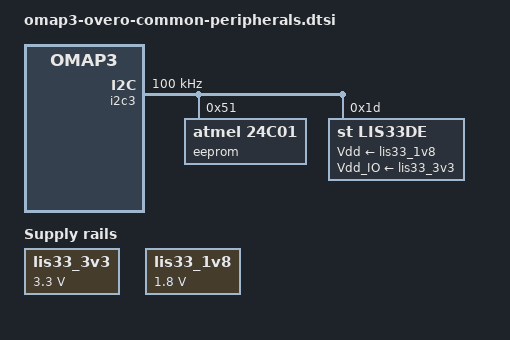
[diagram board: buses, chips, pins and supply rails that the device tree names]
/*
 * Copyright (C) 2014 Florian Vaussard, EPFL Mobots group
 *
 * This program is free software; you can redistribute it and/or modify
 * it under the terms of the GNU General Public License version 2 as
 * published by the Free Software Foundation.
 */

/*
 * Peripherals common to all Gumstix Overo boards (Tobi, Summit, Palo43,...)
 */

/ {
	lis33_3v3: lis33-3v3-reg {
		compatible = "regulator-fixed";
		regulator-name = "lis33-3v3-reg";
		regulator-min-microvolt = <3300000>;
		regulator-max-microvolt = <3300000>;
	};

	lis33_1v8: lis33-1v8-reg {
		compatible = "regulator-fixed";
		regulator-name = "lis33-1v8-reg";
		regulator-min-microvolt = <1800000>;
		regulator-max-microvolt = <1800000>;
	};
};

&omap3_pmx_core {
	i2c3_pins: pinmux_i2c3_pins {
		pinctrl-single,pins = <
			OMAP3_CORE1_IOPAD(0x21c2, PIN_INPUT | MUX_MODE0)	/* i2c3_scl.i2c3_scl */
			OMAP3_CORE1_IOPAD(0x21c4, PIN_INPUT | MUX_MODE0)	/* i2c3_sda.i2c3_sda */
		>;
	};

	uart3_pins: pinmux_uart3_pins {
		pinctrl-single,pins = <
			OMAP3_CORE1_IOPAD(0x219e, PIN_INPUT | MUX_MODE0)	/* uart3_rx_irrx.uart3_rx_irrx */
			OMAP3_CORE1_IOPAD(0x21a0, PIN_OUTPUT | MUX_MODE0)	/* uart3_tx_irtx.uart3_tx_irtx */
		>;
	};
};

&i2c3 {
	pinctrl-names = "default";
	pinctrl-0 = <&i2c3_pins>;
	clock-frequency = <100000>;

	/* optional 1K EEPROM with revision information */
	eeprom@51 {
		compatible = "atmel,24c01";
		reg = <0x51>;
		pagesize = <8>;
	};

	lis33de: lis33de@1d {
		compatible = "st,lis33de", "st,lis3lv02d";
		reg = <0x1d>;
		Vdd-supply = <&lis33_1v8>;
		Vdd_IO-supply = <&lis33_3v3>;

		st,click-single-x;
		st,click-single-y;
		st,click-single-z;
		st,click-thresh-x = <10>;
		st,click-thresh-y = <10>;
		st,click-thresh-z = <10>;
		st,irq1-click;
		st,irq2-click;
		st,wakeup-x-lo;
		st,wakeup-x-hi;
		st,wakeup-y-lo;
		st,wakeup-y-hi;
		st,wakeup-z-lo;
		st,wakeup-z-hi;
		st,min-limit-x = <120>;
		st,min-limit-y = <120>;
		st,min-limit-z = <140>;
		st,max-limit-x = <550>;
		st,max-limit-y = <550>;
		st,max-limit-z = <750>;
	};
};

&mmc3 {
	status = "disabled";
};

&uart3 {
	interrupts-extended = <&intc 74 &omap3_pmx_core OMAP3_UART3_RX>;
	pinctrl-names = "default";
	pinctrl-0 = <&uart3_pins>;
};

